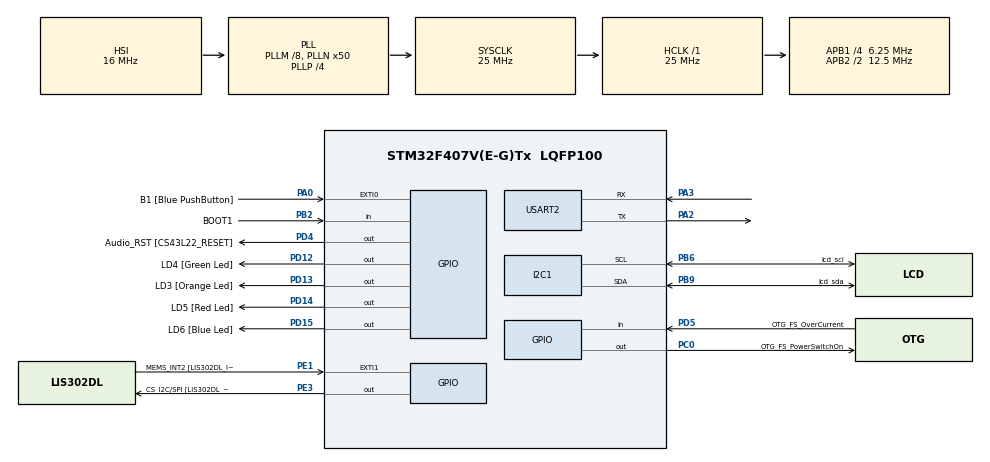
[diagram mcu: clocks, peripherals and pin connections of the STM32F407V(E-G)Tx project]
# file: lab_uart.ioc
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Mcu.Family=STM32F4
Mcu.Name=STM32F407V(E-G)Tx
Mcu.Package=LQFP100
NVIC.PriorityGroup=NVIC_PRIORITYGROUP_4
NVIC.TIM7_IRQn=true\:0\:0\:false\:false\:true\:false\:true\:true
NVIC.TimeBase=TIM7_IRQn
NVIC.TimeBaseIP=TIM7
PA0-WKUP.GPIO_Label=B1 [Blue PushButton]
PA0-WKUP.Signal=GPXTI0
PA10.GPIO_Label=OTG_FS_ID
PA10.GPIO_Mode=GPIO_MODE_AF_PP
PA10.GPIO_PuPd=GPIO_NOPULL
PA10.GPIO_Speed=GPIO_SPEED_FREQ_LOW
PA10.Signal=USB_OTG_FS_ID
PA11.GPIO_Label=OTG_FS_DM
PA11.GPIO_Mode=GPIO_MODE_AF_PP
PA11.GPIO_PuPd=GPIO_NOPULL
PA11.GPIO_Speed=GPIO_SPEED_FREQ_LOW
PA11.Signal=USB_OTG_FS_DM
PA12.GPIO_Label=OTG_FS_DP
PA12.GPIO_Mode=GPIO_MODE_AF_PP
PA12.GPIO_PuPd=GPIO_NOPULL
PA12.GPIO_Speed=GPIO_SPEED_FREQ_LOW
PA12.Signal=USB_OTG_FS_DP
PA13.GPIO_Label=SWDIO
PA13.Mode=Serial_Wire
PA13.Signal=SYS_JTMS-SWDIO
PA14.GPIO_Label=SWCLK
PA14.Mode=Serial_Wire
PA14.Signal=SYS_JTCK-SWCLK
PA2.Mode=Asynchronous
PA2.Signal=USART2_TX
PA3.Mode=Asynchronous
PA3.Signal=USART2_RX
PA4.GPIO_Label=I2S3_WS [CS43L22_LRCK]
PA4.GPIO_Mode=GPIO_MODE_AF_PP
PA4.GPIO_PuPd=GPIO_NOPULL
PA4.GPIO_Speed=GPIO_SPEED_FREQ_LOW
PA4.Signal=I2S3_WS
PA5.GPIO_Label=SPI1_SCK [LIS302DL_SCL/SPC]
PA5.GPIO_Mode=GPIO_MODE_AF_PP
PA5.GPIO_PuPd=GPIO_NOPULL
PA5.GPIO_Speed=GPIO_SPEED_FREQ_LOW
PA5.Signal=SPI1_SCK
PA6.GPIO_Label=SPI1_MISO [LIS302DL_SDO]
PA6.GPIO_Mode=GPIO_MODE_AF_PP
PA6.GPIO_PuPd=GPIO_NOPULL
PA6.GPIO_Speed=GPIO_SPEED_FREQ_LOW
PA6.Signal=SPI1_MISO
PA7.GPIO_Label=SPI1_MOSI [LIS302DL_SDA/SDI/SDO]
PA7.GPIO_Mode=GPIO_MODE_AF_PP
PA7.GPIO_PuPd=GPIO_NOPULL
PA7.GPIO_Speed=GPIO_SPEED_FREQ_LOW
PA7.Signal=SPI1_MOSI
PA9.GPIO_Label=VBUS_FS
PA9.GPIO_Mode=GPIO_MODE_INPUT
PA9.GPIO_PuPd=GPIO_NOPULL
PA9.Signal=USB_OTG_FS_VBUS
PB10.GPIO_Label=CLK_IN [MP45DT02_CLK]
PB10.GPIO_Mode=GPIO_MODE_AF_PP
PB10.GPIO_PuPd=GPIO_NOPULL
PB10.GPIO_Speed=GPIO_SPEED_FREQ_LOW
PB10.Signal=I2S2_CK
PB2.GPIO_Label=BOOT1
PB2.GPIO_Mode=GPIO_MODE_INPUT
PB2.GPIO_PuPd=GPIO_NOPULL
PB2.Signal=GPIO_Input
PB3.GPIO_Label=SWO
PB3.Signal=SYS_JTDO-SWO
PB6.GPIO_Label=lcd_scl
PB6.GPIO_Mode=GPIO_MODE_AF_OD
PB6.GPIO_PuPd=GPIO_NOPULL
PB6.GPIO_Speed=GPIO_SPEED_FREQ_LOW
PB6.Mode=I2C
PB6.Signal=I2C1_SCL
PB9.GPIO_Label=lcd_sda
PB9.GPIO_Mode=GPIO_MODE_AF_OD
PB9.GPIO_PuPd=GPIO_NOPULL
PB9.GPIO_Speed=GPIO_SPEED_FREQ_LOW
PB9.Mode=I2C
PB9.Signal=I2C1_SDA
PC0.GPIO_Label=OTG_FS_PowerSwitchOn
PC0.GPIO_PuPd=GPIO_NOPULL
PC0.GPIO_Speed=GPIO_SPEED_FREQ_LOW
PC0.PinState=GPIO_PIN_SET
PC0.Signal=GPIO_Output
PC10.GPIO_Label=I2S3_SCK [CS43L22_SCLK]
PC10.GPIO_Mode=GPIO_MODE_AF_PP
PC10.GPIO_PuPd=GPIO_NOPULL
PC10.GPIO_Speed=GPIO_SPEED_FREQ_LOW
PC10.Signal=I2S3_CK
PC12.GPIO_Label=I2S3_SD [CS43L22_SDIN]
PC12.GPIO_Mode=GPIO_MODE_AF_PP
PC12.GPIO_PuPd=GPIO_NOPULL
PC12.GPIO_Speed=GPIO_SPEED_FREQ_LOW
PC12.Signal=I2S3_SD
PC14-OSC32_IN.GPIO_Label=PC14-OSC32_IN
PC14-OSC32_IN.Signal=RCC_OSC32_IN
PC15-OSC32_OUT.GPIO_Label=PC15-OSC32_OUT
PC15-OSC32_OUT.Signal=RCC_OSC32_OUT
PC3.GPIO_Label=PDM_OUT [MP45DT02_DOUT]
PC3.GPIO_Mode=GPIO_MODE_AF_PP
PC3.GPIO_PuPd=GPIO_NOPULL
PC3.GPIO_Speed=GPIO_SPEED_FREQ_LOW
PC3.Signal=I2S2_SD
PC7.GPIO_Label=I2S3_MCK [CS43L22_MCLK]
PC7.GPIO_Mode=GPIO_MODE_AF_PP
PC7.GPIO_PuPd=GPIO_NOPULL
PC7.GPIO_Speed=GPIO_SPEED_FREQ_LOW
PC7.Signal=I2S3_MCK
PD12.GPIO_Label=LD4 [Green Led]
PD12.GPIO_PuPd=GPIO_NOPULL
PD12.GPIO_Speed=GPIO_SPEED_FREQ_LOW
PD12.Signal=GPIO_Output
PD13.GPIO_Label=LD3 [Orange Led]
PD13.GPIO_PuPd=GPIO_NOPULL
PD13.GPIO_Speed=GPIO_SPEED_FREQ_LOW
PD13.Signal=GPIO_Output
PD14.GPIO_Label=LD5 [Red Led]
PD14.GPIO_PuPd=GPIO_NOPULL
PD14.GPIO_Speed=GPIO_SPEED_FREQ_LOW
PD14.Signal=GPIO_Output
PD15.GPIO_Label=LD6 [Blue Led]
PD15.GPIO_PuPd=GPIO_NOPULL
PD15.GPIO_Speed=GPIO_SPEED_FREQ_LOW
PD15.Signal=GPIO_Output
PD4.GPIO_Label=Audio_RST [CS43L22_RESET]
PD4.GPIO_PuPd=GPIO_NOPULL
PD4.GPIO_Speed=GPIO_SPEED_FREQ_LOW
PD4.Signal=GPIO_Output
PD5.GPIO_Label=OTG_FS_OverCurrent
PD5.GPIO_Mode=GPIO_MODE_INPUT
PD5.GPIO_PuPd=GPIO_NOPULL
PD5.Signal=GPIO_Input
PE1.GPIO_Label=MEMS_INT2 [LIS302DL_INT2]
PE1.GPIO_ModeDefaultEXTI=GPIO_MODE_EVT_RISING
PE1.GPIO_PuPd=GPIO_NOPULL
PE1.Signal=GPXTI1
PE3.GPIO_Label=CS_I2C/SPI [LIS302DL_CS_I2C/SPI]
PE3.GPIO_PuPd=GPIO_NOPULL
PE3.GPIO_Speed=GPIO_SPEED_FREQ_LOW
PE3.Signal=GPIO_Output
PH0-OSC_IN.GPIO_Label=PH0-OSC_IN
PH0-OSC_IN.Signal=RCC_OSC_IN
PH1-OSC_OUT.GPIO_Label=PH1-OSC_OUT
PH1-OSC_OUT.Signal=RCC_OSC_OUT
ProjectManager.HeapSize=0x200
ProjectManager.StackSize=0x400
ProjectManager.TargetToolchain=STM32CubeIDE
RCC.48MHZClocksFreq_Value=14285714.285714285
RCC.AHBFreq_Value=25000000
RCC.APB1CLKDivider=RCC_HCLK_DIV4
RCC.APB1Freq_Value=6250000
RCC.APB1TimFreq_Value=12500000
RCC.APB2CLKDivider=RCC_HCLK_DIV2
RCC.APB2Freq_Value=12500000
RCC.APB2TimFreq_Value=25000000
RCC.CortexFreq_Value=25000000
RCC.HCLKFreq_Value=25000000
RCC.HSE_VALUE=8000000
RCC.HSI_VALUE=16000000
RCC.LSE_VALUE=32768
RCC.PLLM=8
RCC.PLLN=50
RCC.PLLP=RCC_PLLP_DIV4
RCC.PLLQ=7
RCC.SYSCLKFreq_VALUE=25000000
RCC.SYSCLKSource=RCC_SYSCLKSOURCE_PLLCLK
RCC.VCOOutputFreq_Value=100000000
USART2.VirtualMode=VM_ASYNC
VP_SYS_VS_tim7.Mode=TIM7
board=STM32F407G-DISC1

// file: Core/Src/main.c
/* USER CODE BEGIN Header */
/**
  ******************************************************************************
  * @file           : main.c
  * @brief          : Main program body
  ******************************************************************************
  * @attention
  *
  * Copyright (c) 2022 STMicroelectronics.
  * All rights reserved.
  *
  * This software is licensed under terms that can be found in the LICENSE file
  * in the root directory of this software component.
  * If no LICENSE file comes with this software, it is provided AS-IS.
  *
  ******************************************************************************
  */
/* USER CODE END Header */
#include "main.h"

/* USER CODE BEGIN Includes */
#include"FreeRTOS.h"
#include"task.h"

/* USER CODE END Includes */

I2C_HandleTypeDef hi2c1;

UART_HandleTypeDef huart2;

void SystemClock_Config(void);
static void MX_GPIO_Init(void);
static void MX_USART2_UART_Init(void);
static void MX_I2C1_Init(void);

/* USER CODE BEGIN 0 */
BaseType_t xReturned;
TaskHandle_t xcoinHandle=NULL;
TaskHandle_t xpulseHandle=NULL;
UART_HandleTypeDef huart2;

#define LCD_ADDRESS (0x27 << 1)

int i=0;
int impulse=0;
int total=0;
int day=1;
int now=0;
char MonitorTset[100];

void lcd_send_cmd(char cmd)
{
	char data_h,data_l;
	uint8_t frame_data[4];
	data_h = (cmd&0xf0);
	data_l = ((cmd <<4)&0xf0);
	frame_data[0] = data_h | 0x0C;
	frame_data[1] = data_h | 0x08;
	frame_data[2] = data_l | 0x0C;
	frame_data[3] = data_l | 0x08;

	HAL_I2C_Master_Transmit(&hi2c1,LCD_ADDRESS,(uint8_t *)frame_data,4,0x100);

	//HAL_Delay(1);
}

void lcd_send_data(char data)
{
	char data_h,data_l;
	uint8_t frame_data[4];
	data_h = (data&0xf0);
	data_l = ((data <<4)&0xf0);
	frame_data[0] = data_h | 0x0D;
	frame_data[1] = data_h | 0x09;
	frame_data[2] = data_l | 0x0D;
	frame_data[3] = data_l | 0x09;

	HAL_I2C_Master_Transmit(&hi2c1,LCD_ADDRESS,(uint8_t *)frame_data,4,0x100);

	//HAL_Delay(1);
}

void lcd_clear()
{
	lcd_send_cmd(0x01); // clear display
	HAL_Delay(1);
}

void lcd_Init()
{
	HAL_Delay(50); // 8-bit initialization start
	lcd_send_cmd(0x30);
	HAL_Delay(5);
	lcd_send_cmd(0x30);
	HAL_Delay(1);
	lcd_send_cmd(0x30);
	HAL_Delay(10);
	lcd_send_cmd(0x20);
	HAL_Delay(10); // 8-bit initialization finish

	lcd_send_cmd(0x28);		//function set
	HAL_Delay(1);
	lcd_send_cmd(0x08);		//Display on/off
	HAL_Delay(1);
	lcd_send_cmd(0x01);		//clear display
	HAL_Delay(1);
	lcd_send_cmd(0x06);		//Enter mode set
	HAL_Delay(1);
	lcd_send_cmd(0x0C);		//Display on/off
	HAL_Delay(1);

}

void lcd_send_string (char *str)
{
	while(*str)
	{
		lcd_send_data(*str++);
	}
	HAL_Delay(1);
}

void lcd_put_cur(uint8_t row,uint8_t col) // the location on the lcd screen
{
	lcd_send_cmd(0x80 | (col + (0x40 * row)));
}

void I2C_Scan(I2C_HandleTypeDef *hi2c) {
    char msg[64];
    for (uint8_t addr = 1; addr < 127; addr++) {
        if (HAL_I2C_IsDeviceReady(hi2c, addr << 1, 1, 10) == HAL_OK) {
            sprintf(msg, "Found device at 0x%02X\r\n", addr << 1);
            HAL_UART_Transmit(&huart2, (uint8_t*)msg, strlen(msg), 0xffff);
        }
    }
}

void incomingImpulse() {
	for (;;) {
		if(HAL_GPIO_ReadPin(GPIOA, GPIO_PIN_0) == 0) {
			while(HAL_GPIO_ReadPin(GPIOA, GPIO_PIN_0) == 0){}
			impulse = impulse + 1;
			i = 0;
		}
	}
}

void COIN_Task() {
  // put your main code here, to run repeatedly:

	memset(MonitorTset,'\0',sizeof(MonitorTset));
	I2C_Scan(&hi2c1);
	for (;;) {
	  i = i + 1;

	  if (i >= 5 && impulse == 1){ // 10 dollar
		total = total + 10;
		now = now + 10;

		while (day <= now){
		  now = now - day;
		  day = day + 1;
		}

		// uart
		sprintf(MonitorTset,"The day is %d. Today already saved %d. The total value is %d.\n\r",day, now, total);
		HAL_UART_Transmit(&huart2,(uint8_t *)MonitorTset,strlen(MonitorTset),0xffff);

		lcd_clear();
		lcd_put_cur(0,0);
		lcd_send_string("Insert 10 dollar.");
		lcd_put_cur(1,0);
		sprintf(MonitorTset,"Total value is %d", total);
		lcd_send_string(MonitorTset);

		impulse = 0;
	  }
	  else if (i >= 5 && impulse == 2){ // 5 dollar
		total = total + 5;
		now = now + 5;

		while(day <= now){
		  now = now - day;
		  day = day + 1;
		}

		sprintf(MonitorTset,"The day is %d. Today already saved %d. The total value is %d.\n\r",day, now, total);
		HAL_UART_Transmit(&huart2,(uint8_t *)MonitorTset,strlen(MonitorTset),0xffff);

		lcd_clear();
		lcd_put_cur(0,0);
		lcd_send_string("Insert 5 dollar.");
		lcd_put_cur(1,0);
		sprintf(MonitorTset,"Total value is %d", total);
		lcd_send_string(MonitorTset);

		impulse = 0;
	  }
	  else if (i >= 5 && impulse == 3){ // 1 dollar
		total = total + 1;
		now = now + 1;

		while(day <= now){
		  now = now - day;
		  day = day + 1;
		}

		sprintf(MonitorTset,"The day is %d. Today already saved %d. The total value is %d.\n\r",day, now, total);
		HAL_UART_Transmit(&huart2,(uint8_t *)MonitorTset,strlen(MonitorTset),0xffff);

		lcd_clear();
		lcd_put_cur(0,0);
		lcd_send_string("Insert 1 dollar.");
		lcd_put_cur(1,0);
		sprintf(MonitorTset,"Total value is %d", total);
		lcd_send_string(MonitorTset);

		impulse=0;
	  }

	  if (day > 365){
		day = 1;
	  }

	  vTaskDelay(100);
	}
}

void USART_Test(void *pvParameters){
	uint32_t Monitortimer = 400;
	char MonitorTset[30];
	char num[15];
	int i = 0;
	while(1){
		memset(MonitorTset,'\0',sizeof(MonitorTset));
		memset(num,'\0',sizeof(num));
		itoa(i,num,10);
		strcat(num," ");
		sprintf(MonitorTset,"The point is %s\n\r",num);
		HAL_UART_Transmit(&huart2,(uint8_t *)MonitorTset,strlen(MonitorTset),0xffff);
		vTaskDelay(Monitortimer);
		Monitortimer += 1;
		i += 1;
	}
}

/* USER CODE END 0 */

int main(void)
{

  /* MCU Configuration--------------------------------------------------------*/

  /* Reset of all peripherals, Initializes the Flash interface and the Systick. */
  HAL_Init();

  /* Configure the system clock */
  SystemClock_Config();

  /* Initialize all configured peripherals */
  MX_GPIO_Init();
  MX_USART2_UART_Init();
  MX_I2C1_Init();
  /* USER CODE BEGIN 2 */

  HAL_Delay(30);
  lcd_Init();

  xTaskCreate(
		  COIN_Task,
		  "COIN_Task",
		  128,
		  NULL,
		  1,
		  &xcoinHandle);

  xTaskCreate(
		  incomingImpulse,
  		  "Impulse",
  		  128,
  		  NULL,
  		  1,
  		  &xpulseHandle);

  vTaskStartScheduler();
  /* USER CODE END 2 */

  /* Infinite loop */
  /* USER CODE BEGIN WHILE */

  sprintf(MonitorTset,"The day is %d. Today already saved %d. The total value is %d.\n\r",day, now, total);
  HAL_UART_Transmit(&huart2,(uint8_t *)MonitorTset,strlen(MonitorTset),0xffff);

  while (1)
  {
    /* USER CODE END WHILE */
//	  lcd_put_cur(0,0);
//	  lcd_send_string("Coin task test");
//	  lcd_put_cur(1,0);
//	  lcd_send_string("Total value is 100");
//	  HAL_Delay(1000);
//	  lcd_clear();
//	  HAL_Delay(1000);
  }
}

void SystemClock_Config(void)
{
  RCC_OscInitTypeDef RCC_OscInitStruct = {0};
  RCC_ClkInitTypeDef RCC_ClkInitStruct = {0};

  /** Configure the main internal regulator output voltage
  */
  __HAL_RCC_PWR_CLK_ENABLE();
  __HAL_PWR_VOLTAGESCALING_CONFIG(PWR_REGULATOR_VOLTAGE_SCALE1);

  /** Initializes the RCC Oscillators according to the specified parameters
  * in the RCC_OscInitTypeDef structure.
  */
  RCC_OscInitStruct.OscillatorType = RCC_OSCILLATORTYPE_HSI;
  RCC_OscInitStruct.HSIState = RCC_HSI_ON;
  RCC_OscInitStruct.HSICalibrationValue = RCC_HSICALIBRATION_DEFAULT;
  RCC_OscInitStruct.PLL.PLLState = RCC_PLL_ON;
  RCC_OscInitStruct.PLL.PLLSource = RCC_PLLSOURCE_HSI;
  RCC_OscInitStruct.PLL.PLLM = 8;
  RCC_OscInitStruct.PLL.PLLN = 50;
  RCC_OscInitStruct.PLL.PLLP = RCC_PLLP_DIV4;
  RCC_OscInitStruct.PLL.PLLQ = 7;
  if (HAL_RCC_OscConfig(&RCC_OscInitStruct) != HAL_OK)
  {
    Error_Handler();
  }

  /** Initializes the CPU, AHB and APB buses clocks
  */
  RCC_ClkInitStruct.ClockType = RCC_CLOCKTYPE_HCLK|RCC_CLOCKTYPE_SYSCLK
                              |RCC_CLOCKTYPE_PCLK1|RCC_CLOCKTYPE_PCLK2;
  RCC_ClkInitStruct.SYSCLKSource = RCC_SYSCLKSOURCE_PLLCLK;
  RCC_ClkInitStruct.AHBCLKDivider = RCC_SYSCLK_DIV1;
  RCC_ClkInitStruct.APB1CLKDivider = RCC_HCLK_DIV4;
  RCC_ClkInitStruct.APB2CLKDivider = RCC_HCLK_DIV2;

  if (HAL_RCC_ClockConfig(&RCC_ClkInitStruct, FLASH_LATENCY_0) != HAL_OK)
  {
    Error_Handler();
  }
}

static void MX_I2C1_Init(void)
{

  hi2c1.Instance = I2C1;
  hi2c1.Init.ClockSpeed = 100000;
  hi2c1.Init.DutyCycle = I2C_DUTYCYCLE_2;
  hi2c1.Init.OwnAddress1 = 0;
  hi2c1.Init.AddressingMode = I2C_ADDRESSINGMODE_7BIT;
  hi2c1.Init.DualAddressMode = I2C_DUALADDRESS_DISABLE;
  hi2c1.Init.OwnAddress2 = 0;
  hi2c1.Init.GeneralCallMode = I2C_GENERALCALL_DISABLE;
  hi2c1.Init.NoStretchMode = I2C_NOSTRETCH_DISABLE;
  if (HAL_I2C_Init(&hi2c1) != HAL_OK)
  {
    Error_Handler();
  }

}

static void MX_USART2_UART_Init(void)
{

  huart2.Instance = USART2;
  huart2.Init.BaudRate = 115200;
  huart2.Init.WordLength = UART_WORDLENGTH_8B;
  huart2.Init.StopBits = UART_STOPBITS_1;
  huart2.Init.Parity = UART_PARITY_NONE;
  huart2.Init.Mode = UART_MODE_TX_RX;
  huart2.Init.HwFlowCtl = UART_HWCONTROL_NONE;
  huart2.Init.OverSampling = UART_OVERSAMPLING_16;
  if (HAL_UART_Init(&huart2) != HAL_OK)
  {
    Error_Handler();
  }

}

static void MX_GPIO_Init(void)
{
  GPIO_InitTypeDef GPIO_InitStruct = {0};

  /* GPIO Ports Clock Enable */
  __HAL_RCC_GPIOE_CLK_ENABLE();
  __HAL_RCC_GPIOC_CLK_ENABLE();
  __HAL_RCC_GPIOH_CLK_ENABLE();
  __HAL_RCC_GPIOA_CLK_ENABLE();
  __HAL_RCC_GPIOB_CLK_ENABLE();
  __HAL_RCC_GPIOD_CLK_ENABLE();

  /*Configure GPIO pin Output Level */
  HAL_GPIO_WritePin(CS_I2C_SPI_GPIO_Port, CS_I2C_SPI_Pin, GPIO_PIN_RESET);

  /*Configure GPIO pin Output Level */
  HAL_GPIO_WritePin(OTG_FS_PowerSwitchOn_GPIO_Port, OTG_FS_PowerSwitchOn_Pin, GPIO_PIN_SET);

  /*Configure GPIO pin Output Level */
  HAL_GPIO_WritePin(GPIOD, LD4_Pin|LD3_Pin|LD5_Pin|LD6_Pin
                          |Audio_RST_Pin, GPIO_PIN_RESET);

  /*Configure GPIO pin : CS_I2C_SPI_Pin */
  GPIO_InitStruct.Pin = CS_I2C_SPI_Pin;
  GPIO_InitStruct.Mode = GPIO_MODE_OUTPUT_PP;
  GPIO_InitStruct.Pull = GPIO_NOPULL;
  GPIO_InitStruct.Speed = GPIO_SPEED_FREQ_LOW;
  HAL_GPIO_Init(CS_I2C_SPI_GPIO_Port, &GPIO_InitStruct);

  /*Configure GPIO pin : OTG_FS_PowerSwitchOn_Pin */
  GPIO_InitStruct.Pin = OTG_FS_PowerSwitchOn_Pin;
  GPIO_InitStruct.Mode = GPIO_MODE_OUTPUT_PP;
  GPIO_InitStruct.Pull = GPIO_NOPULL;
  GPIO_InitStruct.Speed = GPIO_SPEED_FREQ_LOW;
  HAL_GPIO_Init(OTG_FS_PowerSwitchOn_GPIO_Port, &GPIO_InitStruct);

  /*Configure GPIO pin : PDM_OUT_Pin */
  GPIO_InitStruct.Pin = PDM_OUT_Pin;
  GPIO_InitStruct.Mode = GPIO_MODE_AF_PP;
  GPIO_InitStruct.Pull = GPIO_NOPULL;
  GPIO_InitStruct.Speed = GPIO_SPEED_FREQ_LOW;
  GPIO_InitStruct.Alternate = GPIO_AF5_SPI2;
  HAL_GPIO_Init(PDM_OUT_GPIO_Port, &GPIO_InitStruct);

  /*Configure GPIO pin : B1_Pin */
  GPIO_InitStruct.Pin = B1_Pin;
  GPIO_InitStruct.Mode = GPIO_MODE_IT_RISING;
  GPIO_InitStruct.Pull = GPIO_NOPULL;
  HAL_GPIO_Init(B1_GPIO_Port, &GPIO_InitStruct);

  /*Configure GPIO pin : I2S3_WS_Pin */
  GPIO_InitStruct.Pin = I2S3_WS_Pin;
  GPIO_InitStruct.Mode = GPIO_MODE_AF_PP;
  GPIO_InitStruct.Pull = GPIO_NOPULL;
  GPIO_InitStruct.Speed = GPIO_SPEED_FREQ_LOW;
  GPIO_InitStruct.Alternate = GPIO_AF6_SPI3;
  HAL_GPIO_Init(I2S3_WS_GPIO_Port, &GPIO_InitStruct);

  /*Configure GPIO pins : SPI1_SCK_Pin SPI1_MISO_Pin SPI1_MOSI_Pin */
  GPIO_InitStruct.Pin = SPI1_SCK_Pin|SPI1_MISO_Pin|SPI1_MOSI_Pin;
  GPIO_InitStruct.Mode = GPIO_MODE_AF_PP;
  GPIO_InitStruct.Pull = GPIO_NOPULL;
  GPIO_InitStruct.Speed = GPIO_SPEED_FREQ_LOW;
  GPIO_InitStruct.Alternate = GPIO_AF5_SPI1;
  HAL_GPIO_Init(GPIOA, &GPIO_InitStruct);

  /*Configure GPIO pin : BOOT1_Pin */
  GPIO_InitStruct.Pin = BOOT1_Pin;
  GPIO_InitStruct.Mode = GPIO_MODE_INPUT;
  GPIO_InitStruct.Pull = GPIO_NOPULL;
  HAL_GPIO_Init(BOOT1_GPIO_Port, &GPIO_InitStruct);

  /*Configure GPIO pin : CLK_IN_Pin */
  GPIO_InitStruct.Pin = CLK_IN_Pin;
  GPIO_InitStruct.Mode = GPIO_MODE_AF_PP;
  GPIO_InitStruct.Pull = GPIO_NOPULL;
  GPIO_InitStruct.Speed = GPIO_SPEED_FREQ_LOW;
  GPIO_InitStruct.Alternate = GPIO_AF5_SPI2;
  HAL_GPIO_Init(CLK_IN_GPIO_Port, &GPIO_InitStruct);

  /*Configure GPIO pins : LD4_Pin LD3_Pin LD5_Pin LD6_Pin
                           Audio_RST_Pin */
  GPIO_InitStruct.Pin = LD4_Pin|LD3_Pin|LD5_Pin|LD6_Pin
                          |Audio_RST_Pin;
  GPIO_InitStruct.Mode = GPIO_MODE_OUTPUT_PP;
  GPIO_InitStruct.Pull = GPIO_NOPULL;
  GPIO_InitStruct.Speed = GPIO_SPEED_FREQ_LOW;
  HAL_GPIO_Init(GPIOD, &GPIO_InitStruct);

  /*Configure GPIO pins : I2S3_MCK_Pin I2S3_SCK_Pin I2S3_SD_Pin */
  GPIO_InitStruct.Pin = I2S3_MCK_Pin|I2S3_SCK_Pin|I2S3_SD_Pin;
  GPIO_InitStruct.Mode = GPIO_MODE_AF_PP;
  GPIO_InitStruct.Pull = GPIO_NOPULL;
  GPIO_InitStruct.Speed = GPIO_SPEED_FREQ_LOW;
  GPIO_InitStruct.Alternate = GPIO_AF6_SPI3;
  HAL_GPIO_Init(GPIOC, &GPIO_InitStruct);

  /*Configure GPIO pin : VBUS_FS_Pin */
  GPIO_InitStruct.Pin = VBUS_FS_Pin;
  GPIO_InitStruct.Mode = GPIO_MODE_INPUT;
  GPIO_InitStruct.Pull = GPIO_NOPULL;
  HAL_GPIO_Init(VBUS_FS_GPIO_Port, &GPIO_InitStruct);

  /*Configure GPIO pins : OTG_FS_ID_Pin OTG_FS_DM_Pin OTG_FS_DP_Pin */
  GPIO_InitStruct.Pin = OTG_FS_ID_Pin|OTG_FS_DM_Pin|OTG_FS_DP_Pin;
  GPIO_InitStruct.Mode = GPIO_MODE_AF_PP;
  GPIO_InitStruct.Pull = GPIO_NOPULL;
  GPIO_InitStruct.Speed = GPIO_SPEED_FREQ_LOW;
  GPIO_InitStruct.Alternate = GPIO_AF10_OTG_FS;
  HAL_GPIO_Init(GPIOA, &GPIO_InitStruct);

  /*Configure GPIO pin : OTG_FS_OverCurrent_Pin */
  GPIO_InitStruct.Pin = OTG_FS_OverCurrent_Pin;
  GPIO_InitStruct.Mode = GPIO_MODE_INPUT;
  GPIO_InitStruct.Pull = GPIO_NOPULL;
  HAL_GPIO_Init(OTG_FS_OverCurrent_GPIO_Port, &GPIO_InitStruct);

  /*Configure GPIO pin : MEMS_INT2_Pin */
  GPIO_InitStruct.Pin = MEMS_INT2_Pin;
  GPIO_InitStruct.Mode = GPIO_MODE_EVT_RISING;
  GPIO_InitStruct.Pull = GPIO_NOPULL;
  HAL_GPIO_Init(MEMS_INT2_GPIO_Port, &GPIO_InitStruct);

}

void HAL_TIM_PeriodElapsedCallback(TIM_HandleTypeDef *htim)
{
  if (htim->Instance == TIM7) {
    HAL_IncTick();
  }
}

void Error_Handler(void)
{
  __disable_irq();
  while (1)
  {
  }
}
